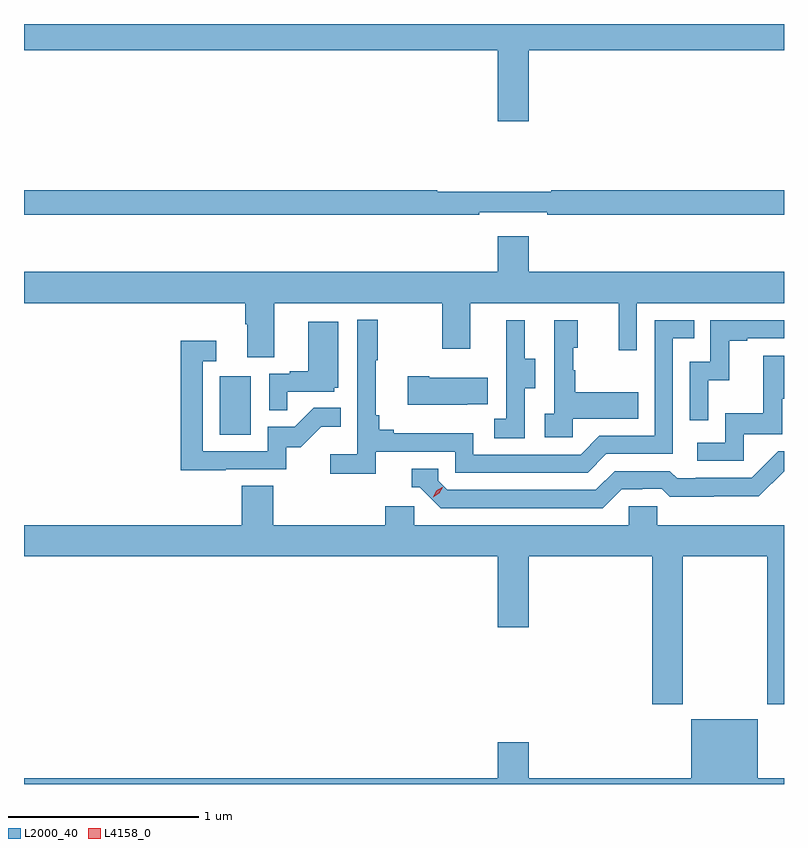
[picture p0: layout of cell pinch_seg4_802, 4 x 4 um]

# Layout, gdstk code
import gdstk
lib = gdstk.Library(unit=1e-6, precision=1e-09)
def R(c, l, rs):  # rectangles x0, y0, x1, y1
    for r in rs: c.add(gdstk.rectangle(r[:2], r[2:], *l))
def P(c, l, *ps):  # polygons
    for p in ps: c.add(gdstk.Polygon(p, *l))
L2000_40 = (2000, 40)
L4158_0 = (4158, 0)

pinch_seg4_802 = lib.new_cell('pinch_seg4_802')
R(pinch_seg4_802, L2000_40, [(798.908,802.788,799.072,803.095)])
P(pinch_seg4_802, L2000_40, [(800.536,804.812),(801.879,804.812),(801.879,804.949),(797.879,804.949),(797.879,804.812),(800.372,804.812),(800.372,804.438),(800.536,804.438)],
  [(800.276,803.958),(800.632,803.958),(800.632,803.946),(801.879,803.946),(801.879,804.074),(800.655,804.074),(800.655,804.067),(800.055,804.067),(800.055,804.074),(797.879,804.074),(797.879,803.946),(800.276,803.946)],
  [(799.195,803.48),(800.08,803.48),(800.08,803.241),(800.227,803.241),(800.227,803.48),(801.008,803.48),(801.008,803.232),(801.105,803.232),(801.105,803.48),(801.879,803.48),(801.879,803.644),(800.536,803.644),(800.536,803.833),(800.372,803.833),(800.372,803.644),(797.879,803.644),(797.879,803.48),(799.043,803.48),(799.043,803.368),(799.055,803.368),(799.055,803.194),(799.195,803.194)],
  [(799.73,802.698),(800.148,802.698),(800.148,802.587),(800.845,802.587),(800.944,802.686),(801.294,802.686),(801.294,803.295),(801.407,803.295),(801.407,803.391),(801.198,803.391),(801.198,802.782),(800.907,802.782),(800.808,802.683),(800.244,802.683),(800.244,802.795),(799.825,802.795),(799.825,802.814),(799.748,802.814),(799.748,802.891),(799.729,802.891),(799.729,803.179),(799.741,803.179),(799.741,803.392),(799.632,803.392),(799.632,802.684),(799.491,802.684),(799.491,802.582),(799.73,802.582)],
  [(801.48,803.075),(801.59,803.075),(801.59,803.283),(801.685,803.283),(801.685,803.295),(801.879,803.295),(801.879,803.391),(801.492,803.391),(801.492,803.172),(801.384,803.172),(801.384,802.863),(801.48,802.863)],
  [(800.514,803.032),(800.569,803.032),(800.569,803.187),(800.515,803.187),(800.515,803.389),(800.417,803.389),(800.417,803.175),(800.418,803.175),(800.418,802.871),(800.355,802.871),(800.355,802.768),(800.514,802.768)],
  [(800.766,802.871),(801.113,802.871),(801.113,803.011),(800.779,803.011),(800.779,803.126),(800.769,803.126),(800.769,803.244),(800.794,803.244),(800.794,803.389),(800.67,803.389),(800.67,802.898),(800.619,802.898),(800.619,802.773),(800.766,802.773)],
  [(799.265,803.013),(799.512,803.013),(799.512,803.034),(799.534,803.034),(799.534,803.383),(799.376,803.383),(799.376,803.122),(799.277,803.122),(799.277,803.109),(799.17,803.109),(799.17,802.915),(799.265,802.915)],
  [(798.941,802.605),(799.26,802.605),(799.26,802.722),(799.336,802.722),(799.443,802.829),(799.547,802.829),(799.547,802.928),(799.403,802.928),(799.305,802.83),(799.161,802.83),(799.161,802.701),(798.819,802.701),(798.819,803.175),(798.892,803.175),(798.892,803.281),(798.703,803.281),(798.703,802.6),(798.941,802.6)],
  [(801.666,802.791),(801.871,802.791),(801.871,802.977),(801.879,802.977),(801.879,803.203),(801.769,803.203),(801.769,802.9),(801.57,802.9),(801.57,802.746),(801.423,802.746),(801.423,802.65),(801.666,802.65)],
  [(800.213,802.949),(800.321,802.949),(800.321,803.086),(800.011,803.086),(800.011,803.094),(799.899,803.094),(799.899,802.946),(800.213,802.946)],
  [(801.025,802.5),(801.132,802.5),(801.132,802.503),(801.235,802.503),(801.277,802.461),(801.51,802.461),(801.51,802.463),(801.746,802.463),(801.879,802.596),(801.879,802.701),(801.849,802.701),(801.708,802.56),(801.415,802.56),(801.415,802.557),(801.316,802.557),(801.277,802.596),(800.988,802.596),(800.889,802.497),(800.106,802.497),(800.058,802.545),(800.058,802.608),(799.919,802.608),(799.919,802.512),(799.962,802.512),(800.073,802.401),(800.926,802.401)],
  [(801.345,802.148),(801.79,802.148),(801.79,801.369),(801.879,801.369),(801.879,802.312),(801.213,802.312),(801.213,802.41),(801.063,802.41),(801.063,802.312),(799.932,802.312),(799.932,802.41),(799.781,802.41),(799.781,802.312),(799.19,802.312),(799.19,802.52),(799.025,802.52),(799.025,802.312),(797.879,802.312),(797.879,802.148),(800.372,802.148),(800.372,801.774),(800.536,801.774),(800.536,802.148),(801.185,802.148),(801.185,801.369),(801.345,801.369)],
  [(801.879,800.98),(801.742,800.98),(801.742,801.289),(801.392,801.289),(801.392,800.98),(800.536,800.98),(800.536,801.169),(800.372,801.169),(800.372,800.98),(797.879,800.98),(797.879,800.949),(801.879,800.949)])
P(pinch_seg4_802, L4158_0, [(800.034,802.459),(800.034,802.46),(800.05,802.492),(800.081,802.512),(800.082,802.512),(800.082,802.511),(800.065,802.479),(800.034,802.459)])

lib.write_gds('pinch_seg4_802.gds')
